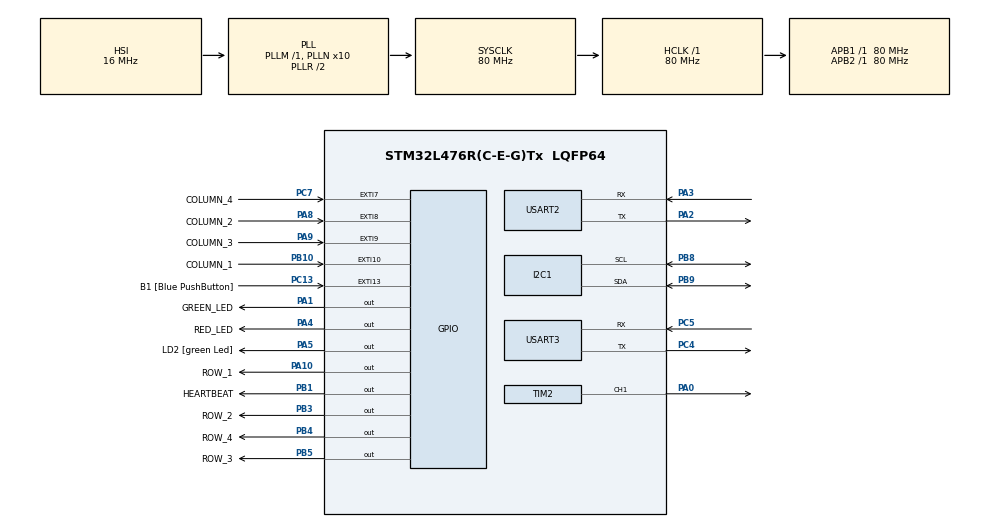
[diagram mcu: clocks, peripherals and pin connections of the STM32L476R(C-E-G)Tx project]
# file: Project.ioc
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I2C1.Timing=0x10D19CE4
Mcu.Family=STM32L4
Mcu.Name=STM32L476R(C-E-G)Tx
Mcu.Package=LQFP64
NVIC.EXTI15_10_IRQn=true\:0\:0\:false\:false\:true\:true\:true\:true
NVIC.EXTI9_5_IRQn=true\:0\:0\:false\:false\:true\:true\:true\:true
NVIC.PriorityGroup=NVIC_PRIORITYGROUP_4
NVIC.USART2_IRQn=true\:0\:0\:false\:false\:true\:true\:true\:true
NVIC.USART3_IRQn=true\:0\:0\:false\:false\:true\:true\:true\:true
PA0.Signal=S_TIM2_CH1
PA1.GPIO_Label=GREEN_LED
PA1.Signal=GPIO_Output
PA10.GPIO_Label=ROW_1
PA10.GPIO_ModeDefaultOutputPP=GPIO_MODE_OUTPUT_OD
PA10.GPIO_PuPd=GPIO_NOPULL
PA10.GPIO_Speed=GPIO_SPEED_FREQ_VERY_HIGH
PA10.PinState=GPIO_PIN_RESET
PA10.Signal=GPIO_Output
PA13\ (JTMS-SWDIO).GPIO_Label=TMS
PA13\ (JTMS-SWDIO).Mode=Serial_Wire
PA13\ (JTMS-SWDIO).Signal=SYS_JTMS-SWDIO
PA14\ (JTCK-SWCLK).GPIO_Label=TCK
PA14\ (JTCK-SWCLK).Mode=Serial_Wire
PA14\ (JTCK-SWCLK).Signal=SYS_JTCK-SWCLK
PA2.GPIO_Mode=GPIO_MODE_AF_PP
PA2.GPIO_ModeDefaultPP=GPIO_MODE_AF_PP
PA2.GPIO_PuPd=GPIO_NOPULL
PA2.GPIO_Speed=GPIO_SPEED_FREQ_VERY_HIGH
PA2.Mode=Asynchronous
PA2.Signal=USART2_TX
PA3.GPIO_Mode=GPIO_MODE_AF_PP
PA3.GPIO_ModeDefaultPP=GPIO_MODE_AF_PP
PA3.GPIO_PuPd=GPIO_NOPULL
PA3.GPIO_Speed=GPIO_SPEED_FREQ_VERY_HIGH
PA3.Mode=Asynchronous
PA3.Signal=USART2_RX
PA4.GPIO_Label=RED_LED
PA4.Signal=GPIO_Output
PA5.GPIO_Label=LD2 [green Led]
PA5.GPIO_ModeDefaultOutputPP=GPIO_MODE_OUTPUT_PP
PA5.GPIO_PuPd=GPIO_NOPULL
PA5.GPIO_Speed=GPIO_SPEED_FREQ_LOW
PA5.Signal=GPIO_Output
PA8.GPIO_Label=COLUMN_2
PA8.GPIO_ModeDefaultEXTI=GPIO_MODE_IT_FALLING
PA8.GPIO_PuPd=GPIO_PULLUP
PA8.Signal=GPXTI8
PA9.GPIO_Label=COLUMN_3
PA9.GPIO_ModeDefaultEXTI=GPIO_MODE_IT_FALLING
PA9.GPIO_PuPd=GPIO_PULLUP
PA9.Signal=GPXTI9
PB1.GPIO_Label=HEARTBEAT
PB1.Signal=GPIO_Output
PB10.GPIO_Label=COLUMN_1
PB10.GPIO_ModeDefaultEXTI=GPIO_MODE_IT_FALLING
PB10.GPIO_PuPd=GPIO_PULLUP
PB10.Signal=GPXTI10
PB3\ (JTDO-TRACESWO).GPIO_Label=ROW_2
PB3\ (JTDO-TRACESWO).GPIO_ModeDefaultOutputPP=GPIO_MODE_OUTPUT_OD
PB3\ (JTDO-TRACESWO).GPIO_PuPd=GPIO_NOPULL
PB3\ (JTDO-TRACESWO).GPIO_Speed=GPIO_SPEED_FREQ_VERY_HIGH
PB3\ (JTDO-TRACESWO).PinState=GPIO_PIN_RESET
PB3\ (JTDO-TRACESWO).Signal=GPIO_Output
PB4\ (NJTRST).GPIO_Label=ROW_4
PB4\ (NJTRST).GPIO_ModeDefaultOutputPP=GPIO_MODE_OUTPUT_OD
PB4\ (NJTRST).GPIO_PuPd=GPIO_NOPULL
PB4\ (NJTRST).GPIO_Speed=GPIO_SPEED_FREQ_VERY_HIGH
PB4\ (NJTRST).PinState=GPIO_PIN_RESET
PB4\ (NJTRST).Signal=GPIO_Output
PB5.GPIO_Label=ROW_3
PB5.GPIO_ModeDefaultOutputPP=GPIO_MODE_OUTPUT_OD
PB5.GPIO_PuPd=GPIO_NOPULL
PB5.GPIO_Speed=GPIO_SPEED_FREQ_VERY_HIGH
PB5.PinState=GPIO_PIN_RESET
PB5.Signal=GPIO_Output
PB8.Mode=I2C
PB8.Signal=I2C1_SCL
PB9.Mode=I2C
PB9.Signal=I2C1_SDA
PC13.GPIO_Label=B1 [Blue PushButton]
PC13.GPIO_ModeDefaultEXTI=GPIO_MODE_IT_FALLING
PC13.GPIO_PuPd=GPIO_NOPULL
PC13.Signal=GPXTI13
PC14-OSC32_IN\ (PC14).Mode=LSE-External-Oscillator
PC14-OSC32_IN\ (PC14).Signal=RCC_OSC32_IN
PC15-OSC32_OUT\ (PC15).Mode=LSE-External-Oscillator
PC15-OSC32_OUT\ (PC15).Signal=RCC_OSC32_OUT
PC4.Mode=Asynchronous
PC4.Signal=USART3_TX
PC5.Mode=Asynchronous
PC5.Signal=USART3_RX
PC7.GPIO_Label=COLUMN_4
PC7.GPIO_ModeDefaultEXTI=GPIO_MODE_IT_FALLING
PC7.GPIO_PuPd=GPIO_PULLUP
PC7.Signal=GPXTI7
PH0-OSC_IN\ (PH0).Signal=RCC_OSC_IN
PH1-OSC_OUT\ (PH1).Signal=RCC_OSC_OUT
ProjectManager.HeapSize=0x200
ProjectManager.StackSize=0x400
ProjectManager.TargetToolchain=CMake
RCC.ADCFreq_Value=64000000
RCC.AHBFreq_Value=80000000
RCC.APB1Freq_Value=80000000
RCC.APB1TimFreq_Value=80000000
RCC.APB2Freq_Value=80000000
RCC.APB2TimFreq_Value=80000000
RCC.CortexFreq_Value=80000000
RCC.HCLKFreq_Value=80000000
RCC.HSE_VALUE=8000000
RCC.HSI_VALUE=16000000
RCC.MSI_VALUE=4000000
RCC.PLLN=10
RCC.PLLSourceVirtual=RCC_PLLSOURCE_HSI
RCC.PREFETCH_ENABLE=1
RCC.SYSCLKFreq_VALUE=80000000
RCC.SYSCLKSource=RCC_SYSCLKSOURCE_PLLCLK
RCC.USBFreq_Value=64000000
RCC.VCOOutputFreq_Value=160000000
SH.S_TIM2_CH1.0=TIM2_CH1,PWM Generation1 CH1
TIM2.Channel-PWM\ Generation1\ CH1=TIM_CHANNEL_1
TIM2.Period=20000-1
TIM2.Prescaler=79
USART2.VirtualMode-Asynchronous=VM_ASYNC
USART3.VirtualMode-Asynchronous=VM_ASYNC
board=NUCLEO-L476RG

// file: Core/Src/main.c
/* USER CODE BEGIN Header */
/**
  ******************************************************************************
  * @file           : main.c
  * @brief          : Main program body
  ******************************************************************************
  * @attention
  *
  * Copyright (c) 2025 STMicroelectronics.
  * All rights reserved.
  *
  * This software is licensed under terms that can be found in the LICENSE file
  * in the root directory of this software component.
  * If no LICENSE file comes with this software, it is provided AS-IS.
  *
  ******************************************************************************
  */
/* USER CODE END Header */
#include "main.h"

/* USER CODE BEGIN Includes */
#include "keypad.h"
#include "ring_buffer.h"
#include <stdbool.h>
#include "keypad_control.h"
#include "display_control.h"
#include "heartbeat.h"

/* USER CODE END Includes */

I2C_HandleTypeDef hi2c1;

TIM_HandleTypeDef htim2;

UART_HandleTypeDef huart2;
UART_HandleTypeDef huart3;

void SystemClock_Config(void);
static void MX_GPIO_Init(void);
static void MX_USART2_UART_Init(void);
static void MX_I2C1_Init(void);
static void MX_USART3_UART_Init(void);
static void MX_TIM2_Init(void);

/* USER CODE BEGIN 0 */
/*uint32_t key_pressed_tick = 0;
uint16_t column_pressed = 0;

uint32_t debounce_tick = 0;*/

uint8_t  buffer_memory[5];
ring_buffer_t rb;

//Función para Mover el Servo Motor
void move_servo(uint16_t position)
{
  __HAL_TIM_SET_COMPARE(&htim2, TIM_CHANNEL_1, position);
}

//uint8_t byte_received; //tecla del teclado del pc

void HAL_GPIO_EXTI_Callback(uint16_t GPIO_Pin)
{
  if ((debounce_tick + 200) > HAL_GetTick()) {
    return;
  }
  debounce_tick = HAL_GetTick();
  key_pressed_tick = HAL_GetTick();
  column_pressed = GPIO_Pin;
}

void HAL_UART_RxCpltCallback(UART_HandleTypeDef *huart) {
  // Recibir siguiente byte (mantener la recepción activa)
  if (huart -> Instance == USART2){
    HAL_UART_Receive_IT(&huart2, &host_byte_received, 1);
  // Eco del carácter y procesar si el buffer no está lleno
  if (!ring_buffer_is_full(&rb)) {
      // Eco de la tecla recibida
      HAL_UART_Transmit(&huart2, &host_byte_received, 1, 10);
      // Escribir en el buffer
      ring_buffer_write(&rb, host_byte_received);
    }
  }else if(huart -> Instance == USART3){
    HAL_UART_Receive_IT(&huart3, &internet_byte_received, 1);
    if (!ring_buffer_is_full(&rb)) {
      // Escribir en el buffer
      ring_buffer_write(&rb, internet_byte_received);
      HAL_UART_Transmit(&huart2, &internet_byte_received, 1,10);
      display_code(&rb); //actualizar display con comando recibido
    }
  }

}

/* USER CODE END 0 */

int main(void)
{

  /* MCU Configuration--------------------------------------------------------*/

  /* Reset of all peripherals, Initializes the Flash interface and the Systick. */
  HAL_Init();

  /* Configure the system clock */
  SystemClock_Config();

  /* Initialize all configured peripherals */
  MX_GPIO_Init();
  MX_USART2_UART_Init();
  MX_I2C1_Init();
  MX_USART3_UART_Init();
  MX_TIM2_Init();
  /* USER CODE BEGIN 2 */
  keypad_init();
  display_init();
  heartbeat_init();
  ring_buffer_init(&rb, buffer_memory, sizeof(buffer_memory));
  init_door_state();
  HAL_UART_Receive_IT(&huart2, &host_byte_received, 1); //REcibe la tecla por interrupcion
  HAL_UART_Receive_IT(&huart3, &internet_byte_received, 1); //
  /* USER CODE END 2 */
  // Habilitar el PWM para el servo motor
  HAL_TIM_PWM_Start(&htim2, TIM_CHANNEL_1);
  move_servo(2000); // Posición de puerta cerrada (180 grados)
  /* Infinite loop */
  while (1)
  {
    heartbeat_update();
    check_keypad(&rb);
    process_command(&rb);
    display_update(&rb);
    /* USER CODE BEGIN 3 */}
  /* USER CODE END 3 */
}

void SystemClock_Config(void)
{
  RCC_OscInitTypeDef RCC_OscInitStruct = {0};
  RCC_ClkInitTypeDef RCC_ClkInitStruct = {0};

  /** Configure the main internal regulator output voltage
  */
  if (HAL_PWREx_ControlVoltageScaling(PWR_REGULATOR_VOLTAGE_SCALE1) != HAL_OK)
  {
    Error_Handler();
  }

  /** Initializes the RCC Oscillators according to the specified parameters
  * in the RCC_OscInitTypeDef structure.
  */
  RCC_OscInitStruct.OscillatorType = RCC_OSCILLATORTYPE_HSI;
  RCC_OscInitStruct.HSIState = RCC_HSI_ON;
  RCC_OscInitStruct.HSICalibrationValue = RCC_HSICALIBRATION_DEFAULT;
  RCC_OscInitStruct.PLL.PLLState = RCC_PLL_ON;
  RCC_OscInitStruct.PLL.PLLSource = RCC_PLLSOURCE_HSI;
  RCC_OscInitStruct.PLL.PLLM = 1;
  RCC_OscInitStruct.PLL.PLLN = 10;
  RCC_OscInitStruct.PLL.PLLP = RCC_PLLP_DIV7;
  RCC_OscInitStruct.PLL.PLLQ = RCC_PLLQ_DIV2;
  RCC_OscInitStruct.PLL.PLLR = RCC_PLLR_DIV2;
  if (HAL_RCC_OscConfig(&RCC_OscInitStruct) != HAL_OK)
  {
    Error_Handler();
  }

  /** Initializes the CPU, AHB and APB buses clocks
  */
  RCC_ClkInitStruct.ClockType = RCC_CLOCKTYPE_HCLK|RCC_CLOCKTYPE_SYSCLK
                              |RCC_CLOCKTYPE_PCLK1|RCC_CLOCKTYPE_PCLK2;
  RCC_ClkInitStruct.SYSCLKSource = RCC_SYSCLKSOURCE_PLLCLK;
  RCC_ClkInitStruct.AHBCLKDivider = RCC_SYSCLK_DIV1;
  RCC_ClkInitStruct.APB1CLKDivider = RCC_HCLK_DIV1;
  RCC_ClkInitStruct.APB2CLKDivider = RCC_HCLK_DIV1;

  if (HAL_RCC_ClockConfig(&RCC_ClkInitStruct, FLASH_LATENCY_4) != HAL_OK)
  {
    Error_Handler();
  }
}

static void MX_I2C1_Init(void)
{

  hi2c1.Instance = I2C1;
  hi2c1.Init.Timing = 0x10D19CE4;
  hi2c1.Init.OwnAddress1 = 0;
  hi2c1.Init.AddressingMode = I2C_ADDRESSINGMODE_7BIT;
  hi2c1.Init.DualAddressMode = I2C_DUALADDRESS_DISABLE;
  hi2c1.Init.OwnAddress2 = 0;
  hi2c1.Init.OwnAddress2Masks = I2C_OA2_NOMASK;
  hi2c1.Init.GeneralCallMode = I2C_GENERALCALL_DISABLE;
  hi2c1.Init.NoStretchMode = I2C_NOSTRETCH_DISABLE;
  if (HAL_I2C_Init(&hi2c1) != HAL_OK)
  {
    Error_Handler();
  }

  /** Configure Analogue filter
  */
  if (HAL_I2CEx_ConfigAnalogFilter(&hi2c1, I2C_ANALOGFILTER_ENABLE) != HAL_OK)
  {
    Error_Handler();
  }

  /** Configure Digital filter
  */
  if (HAL_I2CEx_ConfigDigitalFilter(&hi2c1, 0) != HAL_OK)
  {
    Error_Handler();
  }

}

static void MX_TIM2_Init(void)
{

  TIM_MasterConfigTypeDef sMasterConfig = {0};
  TIM_OC_InitTypeDef sConfigOC = {0};

  htim2.Instance = TIM2;
  htim2.Init.Prescaler = 79;
  htim2.Init.CounterMode = TIM_COUNTERMODE_UP;
  htim2.Init.Period = 20000-1;
  htim2.Init.ClockDivision = TIM_CLOCKDIVISION_DIV1;
  htim2.Init.AutoReloadPreload = TIM_AUTORELOAD_PRELOAD_DISABLE;
  if (HAL_TIM_PWM_Init(&htim2) != HAL_OK)
  {
    Error_Handler();
  }
  sMasterConfig.MasterOutputTrigger = TIM_TRGO_RESET;
  sMasterConfig.MasterSlaveMode = TIM_MASTERSLAVEMODE_DISABLE;
  if (HAL_TIMEx_MasterConfigSynchronization(&htim2, &sMasterConfig) != HAL_OK)
  {
    Error_Handler();
  }
  sConfigOC.OCMode = TIM_OCMODE_PWM1;
  sConfigOC.Pulse = 0; //Ancho de pulso inicial(posicion inicial)
  sConfigOC.OCPolarity = TIM_OCPOLARITY_HIGH;
  sConfigOC.OCFastMode = TIM_OCFAST_DISABLE;
  if (HAL_TIM_PWM_ConfigChannel(&htim2, &sConfigOC, TIM_CHANNEL_1) != HAL_OK)
  {
    Error_Handler();
  }
  HAL_TIM_MspPostInit(&htim2);

}

static void MX_USART2_UART_Init(void)
{

  huart2.Instance = USART2;
  huart2.Init.BaudRate = 115200;
  huart2.Init.WordLength = UART_WORDLENGTH_8B;
  huart2.Init.StopBits = UART_STOPBITS_1;
  huart2.Init.Parity = UART_PARITY_NONE;
  huart2.Init.Mode = UART_MODE_TX_RX;
  huart2.Init.HwFlowCtl = UART_HWCONTROL_NONE;
  huart2.Init.OverSampling = UART_OVERSAMPLING_16;
  huart2.Init.OneBitSampling = UART_ONE_BIT_SAMPLE_DISABLE;
  huart2.AdvancedInit.AdvFeatureInit = UART_ADVFEATURE_NO_INIT;
  if (HAL_UART_Init(&huart2) != HAL_OK)
  {
    Error_Handler();
  }

}

static void MX_USART3_UART_Init(void)
{

  huart3.Instance = USART3;
  huart3.Init.BaudRate = 115200;
  huart3.Init.WordLength = UART_WORDLENGTH_8B;
  huart3.Init.StopBits = UART_STOPBITS_1;
  huart3.Init.Parity = UART_PARITY_NONE;
  huart3.Init.Mode = UART_MODE_TX_RX;
  huart3.Init.HwFlowCtl = UART_HWCONTROL_NONE;
  huart3.Init.OverSampling = UART_OVERSAMPLING_16;
  huart3.Init.OneBitSampling = UART_ONE_BIT_SAMPLE_DISABLE;
  huart3.AdvancedInit.AdvFeatureInit = UART_ADVFEATURE_NO_INIT;
  if (HAL_UART_Init(&huart3) != HAL_OK)
  {
    Error_Handler();
  }

}

static void MX_GPIO_Init(void)
{
  GPIO_InitTypeDef GPIO_InitStruct = {0};

  /* GPIO Ports Clock Enable */
  __HAL_RCC_GPIOC_CLK_ENABLE();
  __HAL_RCC_GPIOH_CLK_ENABLE();
  __HAL_RCC_GPIOA_CLK_ENABLE();
  __HAL_RCC_GPIOB_CLK_ENABLE();

  /*Configure GPIO pin Output Level */
  HAL_GPIO_WritePin(GPIOA, GREEN_LED_Pin|RED_LED_Pin|LD2_Pin|ROW_1_Pin, GPIO_PIN_RESET);

  /*Configure GPIO pin Output Level */
  HAL_GPIO_WritePin(GPIOB, HEARTBEAT_Pin|ROW_2_Pin|ROW_4_Pin|ROW_3_Pin, GPIO_PIN_RESET);

  /*Configure GPIO pin : B1_Pin */
  GPIO_InitStruct.Pin = B1_Pin;
  GPIO_InitStruct.Mode = GPIO_MODE_IT_FALLING;
  GPIO_InitStruct.Pull = GPIO_NOPULL;
  HAL_GPIO_Init(B1_GPIO_Port, &GPIO_InitStruct);

  /*Configure GPIO pins : GREEN_LED_Pin RED_LED_Pin LD2_Pin */
  GPIO_InitStruct.Pin = GREEN_LED_Pin|RED_LED_Pin|LD2_Pin;
  GPIO_InitStruct.Mode = GPIO_MODE_OUTPUT_PP;
  GPIO_InitStruct.Pull = GPIO_NOPULL;
  GPIO_InitStruct.Speed = GPIO_SPEED_FREQ_LOW;
  HAL_GPIO_Init(GPIOA, &GPIO_InitStruct);

  /*Configure GPIO pin : HEARTBEAT_Pin */
  GPIO_InitStruct.Pin = HEARTBEAT_Pin;
  GPIO_InitStruct.Mode = GPIO_MODE_OUTPUT_PP;
  GPIO_InitStruct.Pull = GPIO_NOPULL;
  GPIO_InitStruct.Speed = GPIO_SPEED_FREQ_LOW;
  HAL_GPIO_Init(HEARTBEAT_GPIO_Port, &GPIO_InitStruct);

  /*Configure GPIO pin : COLUMN_1_Pin */
  GPIO_InitStruct.Pin = COLUMN_1_Pin;
  GPIO_InitStruct.Mode = GPIO_MODE_IT_FALLING;
  GPIO_InitStruct.Pull = GPIO_PULLUP;
  HAL_GPIO_Init(COLUMN_1_GPIO_Port, &GPIO_InitStruct);

  /*Configure GPIO pin : COLUMN_4_Pin */
  GPIO_InitStruct.Pin = COLUMN_4_Pin;
  GPIO_InitStruct.Mode = GPIO_MODE_IT_FALLING;
  GPIO_InitStruct.Pull = GPIO_PULLUP;
  HAL_GPIO_Init(COLUMN_4_GPIO_Port, &GPIO_InitStruct);

  /*Configure GPIO pins : COLUMN_2_Pin COLUMN_3_Pin */
  GPIO_InitStruct.Pin = COLUMN_2_Pin|COLUMN_3_Pin;
  GPIO_InitStruct.Mode = GPIO_MODE_IT_FALLING;
  GPIO_InitStruct.Pull = GPIO_PULLUP;
  HAL_GPIO_Init(GPIOA, &GPIO_InitStruct);

  /*Configure GPIO pin : ROW_1_Pin */
  GPIO_InitStruct.Pin = ROW_1_Pin;
  GPIO_InitStruct.Mode = GPIO_MODE_OUTPUT_OD;
  GPIO_InitStruct.Pull = GPIO_NOPULL;
  GPIO_InitStruct.Speed = GPIO_SPEED_FREQ_VERY_HIGH;
  HAL_GPIO_Init(ROW_1_GPIO_Port, &GPIO_InitStruct);

  /*Configure GPIO pins : ROW_2_Pin ROW_4_Pin ROW_3_Pin */
  GPIO_InitStruct.Pin = ROW_2_Pin|ROW_4_Pin|ROW_3_Pin;
  GPIO_InitStruct.Mode = GPIO_MODE_OUTPUT_OD;
  GPIO_InitStruct.Pull = GPIO_NOPULL;
  GPIO_InitStruct.Speed = GPIO_SPEED_FREQ_VERY_HIGH;
  HAL_GPIO_Init(GPIOB, &GPIO_InitStruct);

  /* EXTI interrupt init*/
  HAL_NVIC_SetPriority(EXTI9_5_IRQn, 0, 0);
  HAL_NVIC_EnableIRQ(EXTI9_5_IRQn);

  HAL_NVIC_SetPriority(EXTI15_10_IRQn, 0, 0);
  HAL_NVIC_EnableIRQ(EXTI15_10_IRQn);

}

void Error_Handler(void)
{
  __disable_irq();
  while (1)
  {
  }
}
